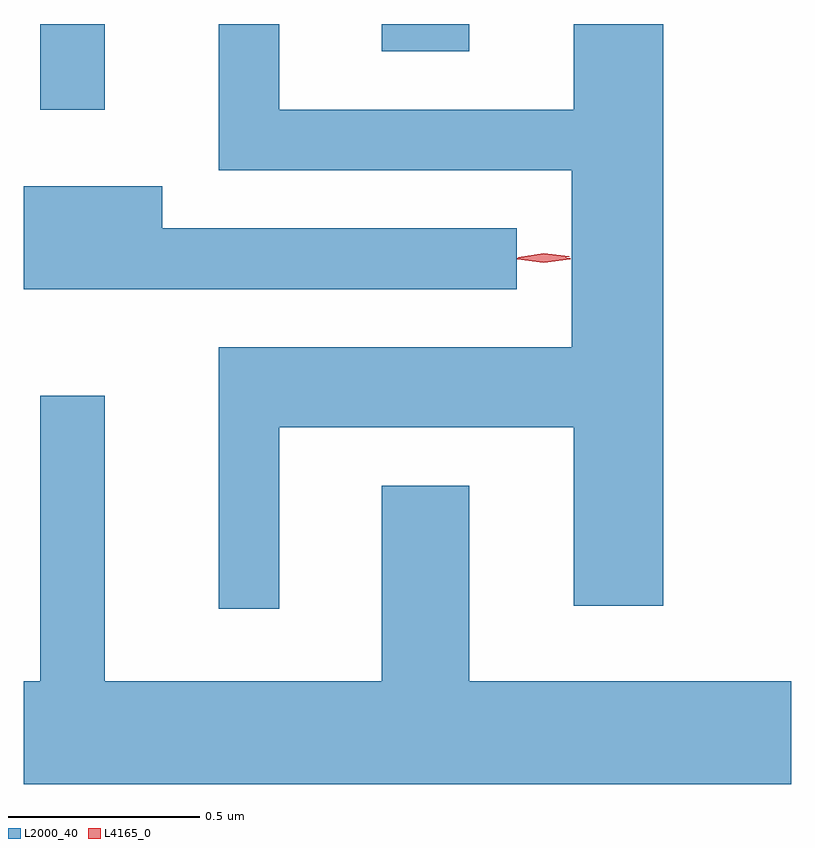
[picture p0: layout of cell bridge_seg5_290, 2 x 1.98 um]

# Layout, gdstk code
import gdstk
lib = gdstk.Library(unit=1e-6, precision=1e-09)
def R(c, l, rs):  # rectangles x0, y0, x1, y1
    for r in rs: c.add(gdstk.rectangle(r[:2], r[2:], *l))
def P(c, l, *ps):  # polygons
    for p in ps: c.add(gdstk.Polygon(p, *l))
L2000_40 = (2000, 40)
L4165_0 = (4165, 0)

bridge_seg5_290 = lib.new_cell('bridge_seg5_290')
R(bridge_seg5_290, L2000_40, [(878.021,1476.313,878.189,1476.537), (878.911,1476.466,879.139,1476.537)])
P(bridge_seg5_290, L2000_40, [(878.644,1475.486),(879.411,1475.486),(879.411,1475.021),(879.644,1475.021),(879.644,1476.537),(879.411,1476.537),(879.411,1476.314),(878.644,1476.314),(878.644,1476.537),(878.486,1476.537),(878.486,1476.156),(879.406,1476.156),(879.406,1475.694),(878.486,1475.694),(878.486,1475.013),(878.644,1475.013)],
  [(879.263,1476.004),(878.339,1476.004),(878.339,1476.114),(877.978,1476.114),(877.978,1475.846),(879.263,1475.846)],
  [(879.978,1474.824),(879.139,1474.824),(879.139,1475.334),(878.911,1475.334),(878.911,1474.824),(878.189,1474.824),(878.189,1475.568),(878.021,1475.568),(878.021,1474.824),(877.978,1474.824),(877.978,1474.556),(879.978,1474.556)])
P(bridge_seg5_290, L4165_0, [(879.333,1475.915),(879.264,1475.924),(879.264,1475.925),(879.264,1475.926),(879.333,1475.935),(879.402,1475.926),(879.403,1475.925),(879.402,1475.924)],
  [(879.334,1475.92),(879.267,1475.928),(879.267,1475.929),(879.267,1475.929),(879.333,1475.94),(879.399,1475.931),(879.4,1475.931),(879.399,1475.93)])

lib.write_gds('bridge_seg5_290.gds')
